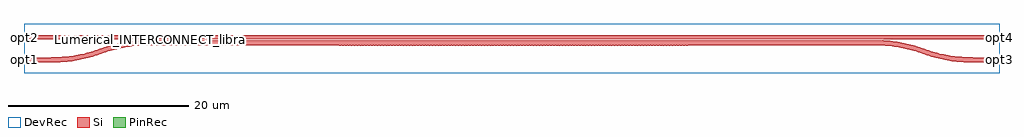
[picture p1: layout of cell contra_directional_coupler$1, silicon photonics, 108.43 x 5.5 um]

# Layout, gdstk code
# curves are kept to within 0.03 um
import gdstk
lib = gdstk.Library(unit=1e-6, precision=1e-09)
def R(c, l, rs):  # rectangles x0, y0, x1, y1
    for r in rs: c.add(gdstk.rectangle(r[:2], r[2:], *l))
def A(c, l, x, y, w, h, nx, ny, dx, dy):  # array of equal rectangles
    R(c, l, [(x+i*dx, y+j*dy, x+i*dx+w, y+j*dy+h) for i in range(nx) for j in range(ny)])
def P(c, l, *ps):  # polygons
    for p in ps: c.add(gdstk.Polygon(p, *l))
Si = (1, 0)
PinRec = (1, 10)
DevRec = (68, 0)

contra_directional_coupl = lib.new_cell('contra_directional_coupler$1')
A(contra_directional_coupl, Si, 34.186, -0.643, 0.16, 0.305, 39, 1, 0.321, 0)
A(contra_directional_coupl, Si, 29.692, -0.642, 0.16, 0.304, 14, 1, 0.321, 0)
A(contra_directional_coupl, Si, 46.705, -0.642, 0.16, 0.304, 14, 1, 0.321, 0)
A(contra_directional_coupl, Si, 26.161, -0.641, 0.16, 0.303, 11, 1, 0.321, 0)
A(contra_directional_coupl, Si, 51.199, -0.641, 0.16, 0.303, 11, 1, 0.321, 0)
A(contra_directional_coupl, Si, 23.593, -0.64, 0.16, 0.302, 8, 1, 0.321, 0)
A(contra_directional_coupl, Si, 54.73, -0.64, 0.16, 0.302, 8, 1, 0.321, 0)
A(contra_directional_coupl, Si, 21.025, -0.639, 0.16, 0.301, 8, 1, 0.321, 0)
A(contra_directional_coupl, Si, 57.298, -0.639, 0.16, 0.301, 8, 1, 0.321, 0)
A(contra_directional_coupl, Si, 18.778, -0.638, 0.16, 0.3, 7, 1, 0.321, 0)
A(contra_directional_coupl, Si, 59.866, -0.638, 0.16, 0.3, 7, 1, 0.321, 0)
A(contra_directional_coupl, Si, 16.531, -0.637, 0.16, 0.299, 7, 1, 0.321, 0)
A(contra_directional_coupl, Si, 62.113, -0.637, 0.16, 0.299, 7, 1, 0.321, 0)
A(contra_directional_coupl, Si, 14.284, -0.636, 0.16, 0.298, 7, 1, 0.321, 0)
A(contra_directional_coupl, Si, 64.36, -0.636, 0.16, 0.298, 7, 1, 0.321, 0)
A(contra_directional_coupl, Si, 12.358, -0.635, 0.16, 0.297, 6, 1, 0.321, 0)
A(contra_directional_coupl, Si, 66.607, -0.635, 0.16, 0.297, 6, 1, 0.321, 0)
A(contra_directional_coupl, Si, 10.111, -0.634, 0.16, 0.296, 7, 1, 0.321, 0)
A(contra_directional_coupl, Si, 68.533, -0.634, 0.16, 0.296, 7, 1, 0.321, 0)
A(contra_directional_coupl, Si, 8.185, -0.633, 0.16, 0.295, 6, 1, 0.321, 0)
A(contra_directional_coupl, Si, 70.78, -0.633, 0.16, 0.295, 6, 1, 0.321, 0)
A(contra_directional_coupl, Si, 6.259, -0.632, 0.16, 0.294, 6, 1, 0.321, 0)
A(contra_directional_coupl, Si, 72.706, -0.632, 0.16, 0.294, 6, 1, 0.321, 0)
A(contra_directional_coupl, Si, 4.012, -0.631, 0.16, 0.293, 7, 1, 0.321, 0)
A(contra_directional_coupl, Si, 74.632, -0.631, 0.16, 0.293, 7, 1, 0.321, 0)
A(contra_directional_coupl, Si, 2.086, -0.63, 0.16, 0.292, 6, 1, 0.321, 0)
A(contra_directional_coupl, Si, 76.879, -0.63, 0.16, 0.292, 6, 1, 0.321, 0)
A(contra_directional_coupl, Si, 0.16, -0.629, 0.16, 0.291, 6, 1, 0.321, 0)
A(contra_directional_coupl, Si, 78.805, -0.629, 0.16, 0.291, 5, 1, 0.321, 0)
A(contra_directional_coupl, Si, 0.32, -0.607, 0.161, 0.269, 6, 1, 0.321, 0)
A(contra_directional_coupl, Si, 78.965, -0.607, 0.161, 0.269, 5, 1, 0.321, 0)
A(contra_directional_coupl, Si, 2.246, -0.606, 0.161, 0.268, 6, 1, 0.321, 0)
A(contra_directional_coupl, Si, 77.039, -0.606, 0.161, 0.268, 6, 1, 0.321, 0)
A(contra_directional_coupl, Si, 4.172, -0.605, 0.161, 0.267, 7, 1, 0.321, 0)
A(contra_directional_coupl, Si, 74.792, -0.605, 0.161, 0.267, 7, 1, 0.321, 0)
A(contra_directional_coupl, Si, 6.419, -0.604, 0.161, 0.266, 6, 1, 0.321, 0)
A(contra_directional_coupl, Si, 72.866, -0.604, 0.161, 0.266, 6, 1, 0.321, 0)
A(contra_directional_coupl, Si, 8.345, -0.603, 0.161, 0.265, 6, 1, 0.321, 0)
A(contra_directional_coupl, Si, 70.94, -0.603, 0.161, 0.265, 6, 1, 0.321, 0)
A(contra_directional_coupl, Si, 10.271, -0.602, 0.161, 0.264, 7, 1, 0.321, 0)
A(contra_directional_coupl, Si, 68.693, -0.602, 0.161, 0.264, 7, 1, 0.321, 0)
A(contra_directional_coupl, Si, 12.518, -0.601, 0.161, 0.263, 6, 1, 0.321, 0)
A(contra_directional_coupl, Si, 66.767, -0.601, 0.161, 0.263, 6, 1, 0.321, 0)
A(contra_directional_coupl, Si, 14.444, -0.6, 0.161, 0.262, 7, 1, 0.321, 0)
A(contra_directional_coupl, Si, 64.52, -0.6, 0.161, 0.262, 7, 1, 0.321, 0)
A(contra_directional_coupl, Si, 16.691, -0.599, 0.161, 0.261, 7, 1, 0.321, 0)
A(contra_directional_coupl, Si, 62.273, -0.599, 0.161, 0.261, 7, 1, 0.321, 0)
A(contra_directional_coupl, Si, 18.938, -0.598, 0.161, 0.26, 7, 1, 0.321, 0)
A(contra_directional_coupl, Si, 60.026, -0.598, 0.161, 0.26, 7, 1, 0.321, 0)
A(contra_directional_coupl, Si, 21.185, -0.597, 0.161, 0.259, 8, 1, 0.321, 0)
A(contra_directional_coupl, Si, 57.458, -0.597, 0.161, 0.259, 8, 1, 0.321, 0)
A(contra_directional_coupl, Si, 23.753, -0.596, 0.161, 0.258, 8, 1, 0.321, 0)
A(contra_directional_coupl, Si, 54.89, -0.596, 0.161, 0.258, 8, 1, 0.321, 0)
A(contra_directional_coupl, Si, 26.321, -0.595, 0.161, 0.257, 11, 1, 0.321, 0)
A(contra_directional_coupl, Si, 51.359, -0.595, 0.161, 0.257, 11, 1, 0.321, 0)
A(contra_directional_coupl, Si, 29.852, -0.594, 0.161, 0.256, 14, 1, 0.321, 0)
A(contra_directional_coupl, Si, 46.865, -0.594, 0.161, 0.256, 14, 1, 0.321, 0)
A(contra_directional_coupl, Si, 34.346, -0.593, 0.161, 0.255, 39, 1, 0.321, 0)
A(contra_directional_coupl, Si, 0, -0.338, 0.16, 0.291, 6, 1, 0.321, 0)
A(contra_directional_coupl, Si, 0.16, -0.338, 0.161, 0.269, 6, 1, 0.321, 0)
A(contra_directional_coupl, Si, 1.926, -0.338, 0.16, 0.292, 6, 1, 0.321, 0)
A(contra_directional_coupl, Si, 2.086, -0.338, 0.161, 0.268, 6, 1, 0.321, 0)
A(contra_directional_coupl, Si, 3.852, -0.338, 0.16, 0.293, 7, 1, 0.321, 0)
A(contra_directional_coupl, Si, 4.012, -0.338, 0.161, 0.267, 7, 1, 0.321, 0)
A(contra_directional_coupl, Si, 6.099, -0.338, 0.16, 0.294, 6, 1, 0.321, 0)
A(contra_directional_coupl, Si, 6.259, -0.338, 0.161, 0.266, 6, 1, 0.321, 0)
A(contra_directional_coupl, Si, 8.025, -0.338, 0.16, 0.295, 6, 1, 0.321, 0)
A(contra_directional_coupl, Si, 8.185, -0.338, 0.161, 0.265, 6, 1, 0.321, 0)
A(contra_directional_coupl, Si, 9.951, -0.338, 0.16, 0.296, 7, 1, 0.321, 0)
A(contra_directional_coupl, Si, 10.111, -0.338, 0.161, 0.264, 7, 1, 0.321, 0)
A(contra_directional_coupl, Si, 12.198, -0.338, 0.16, 0.297, 6, 1, 0.321, 0)
A(contra_directional_coupl, Si, 12.358, -0.338, 0.161, 0.263, 6, 1, 0.321, 0)
A(contra_directional_coupl, Si, 14.124, -0.338, 0.16, 0.298, 7, 1, 0.321, 0)
A(contra_directional_coupl, Si, 14.284, -0.338, 0.161, 0.262, 7, 1, 0.321, 0)
A(contra_directional_coupl, Si, 16.371, -0.338, 0.16, 0.299, 7, 1, 0.321, 0)
A(contra_directional_coupl, Si, 16.531, -0.338, 0.161, 0.261, 7, 1, 0.321, 0)
A(contra_directional_coupl, Si, 18.618, -0.338, 0.16, 0.3, 7, 1, 0.321, 0)
A(contra_directional_coupl, Si, 18.778, -0.338, 0.161, 0.26, 7, 1, 0.321, 0)
A(contra_directional_coupl, Si, 20.865, -0.338, 0.16, 0.301, 8, 1, 0.321, 0)
A(contra_directional_coupl, Si, 21.025, -0.338, 0.161, 0.259, 8, 1, 0.321, 0)
A(contra_directional_coupl, Si, 23.433, -0.338, 0.16, 0.302, 8, 1, 0.321, 0)
A(contra_directional_coupl, Si, 23.593, -0.338, 0.161, 0.258, 8, 1, 0.321, 0)
A(contra_directional_coupl, Si, 26.001, -0.338, 0.16, 0.303, 11, 1, 0.321, 0)
A(contra_directional_coupl, Si, 26.161, -0.338, 0.161, 0.257, 11, 1, 0.321, 0)
A(contra_directional_coupl, Si, 29.532, -0.338, 0.16, 0.304, 14, 1, 0.321, 0)
A(contra_directional_coupl, Si, 29.692, -0.338, 0.161, 0.256, 14, 1, 0.321, 0)
A(contra_directional_coupl, Si, 34.026, -0.338, 0.16, 0.305, 39, 1, 0.321, 0)
A(contra_directional_coupl, Si, 34.186, -0.338, 0.161, 0.255, 39, 1, 0.321, 0)
A(contra_directional_coupl, Si, 46.545, -0.338, 0.16, 0.304, 14, 1, 0.321, 0)
A(contra_directional_coupl, Si, 46.705, -0.338, 0.161, 0.256, 14, 1, 0.321, 0)
A(contra_directional_coupl, Si, 51.039, -0.338, 0.16, 0.303, 11, 1, 0.321, 0)
A(contra_directional_coupl, Si, 51.199, -0.338, 0.161, 0.257, 11, 1, 0.321, 0)
A(contra_directional_coupl, Si, 54.57, -0.338, 0.16, 0.302, 8, 1, 0.321, 0)
A(contra_directional_coupl, Si, 54.73, -0.338, 0.161, 0.258, 8, 1, 0.321, 0)
A(contra_directional_coupl, Si, 57.138, -0.338, 0.16, 0.301, 8, 1, 0.321, 0)
A(contra_directional_coupl, Si, 57.298, -0.338, 0.161, 0.259, 8, 1, 0.321, 0)
A(contra_directional_coupl, Si, 59.706, -0.338, 0.16, 0.3, 7, 1, 0.321, 0)
A(contra_directional_coupl, Si, 59.866, -0.338, 0.161, 0.26, 7, 1, 0.321, 0)
A(contra_directional_coupl, Si, 61.953, -0.338, 0.16, 0.299, 7, 1, 0.321, 0)
A(contra_directional_coupl, Si, 62.113, -0.338, 0.161, 0.261, 7, 1, 0.321, 0)
A(contra_directional_coupl, Si, 64.2, -0.338, 0.16, 0.298, 7, 1, 0.321, 0)
A(contra_directional_coupl, Si, 64.36, -0.338, 0.161, 0.262, 7, 1, 0.321, 0)
A(contra_directional_coupl, Si, 66.447, -0.338, 0.16, 0.297, 6, 1, 0.321, 0)
A(contra_directional_coupl, Si, 66.607, -0.338, 0.161, 0.263, 6, 1, 0.321, 0)
A(contra_directional_coupl, Si, 68.373, -0.338, 0.16, 0.296, 7, 1, 0.321, 0)
A(contra_directional_coupl, Si, 68.533, -0.338, 0.161, 0.264, 7, 1, 0.321, 0)
A(contra_directional_coupl, Si, 70.62, -0.338, 0.16, 0.295, 6, 1, 0.321, 0)
A(contra_directional_coupl, Si, 70.78, -0.338, 0.161, 0.265, 6, 1, 0.321, 0)
A(contra_directional_coupl, Si, 72.546, -0.338, 0.16, 0.294, 6, 1, 0.321, 0)
A(contra_directional_coupl, Si, 72.706, -0.338, 0.161, 0.266, 6, 1, 0.321, 0)
A(contra_directional_coupl, Si, 74.472, -0.338, 0.16, 0.293, 7, 1, 0.321, 0)
A(contra_directional_coupl, Si, 74.632, -0.338, 0.161, 0.267, 7, 1, 0.321, 0)
A(contra_directional_coupl, Si, 76.719, -0.338, 0.16, 0.292, 6, 1, 0.321, 0)
A(contra_directional_coupl, Si, 76.879, -0.338, 0.161, 0.268, 6, 1, 0.321, 0)
A(contra_directional_coupl, Si, 78.645, -0.338, 0.16, 0.291, 5, 1, 0.321, 0)
A(contra_directional_coupl, Si, 78.805, -0.338, 0.161, 0.269, 5, 1, 0.321, 0)
A(contra_directional_coupl, Si, 27.285, 0.047, 0.16, 0.231, 40, 1, 0.321, 0)
A(contra_directional_coupl, Si, 40.446, 0.047, 0.16, 0.231, 40, 1, 0.321, 0)
A(contra_directional_coupl, Si, 21.507, 0.048, 0.16, 0.23, 18, 1, 0.321, 0)
A(contra_directional_coupl, Si, 53.286, 0.048, 0.16, 0.23, 18, 1, 0.321, 0)
A(contra_directional_coupl, Si, 17.013, 0.049, 0.16, 0.229, 14, 1, 0.321, 0)
A(contra_directional_coupl, Si, 59.064, 0.049, 0.16, 0.229, 14, 1, 0.321, 0)
A(contra_directional_coupl, Si, 12.519, 0.05, 0.16, 0.228, 14, 1, 0.321, 0)
A(contra_directional_coupl, Si, 63.558, 0.05, 0.16, 0.228, 14, 1, 0.321, 0)
A(contra_directional_coupl, Si, 8.346, 0.051, 0.16, 0.227, 13, 1, 0.321, 0)
A(contra_directional_coupl, Si, 68.052, 0.051, 0.16, 0.227, 13, 1, 0.321, 0)
A(contra_directional_coupl, Si, 3.852, 0.052, 0.16, 0.226, 14, 1, 0.321, 0)
A(contra_directional_coupl, Si, 72.225, 0.052, 0.16, 0.226, 14, 1, 0.321, 0)
A(contra_directional_coupl, Si, 0, 0.053, 0.16, 0.225, 12, 1, 0.321, 0)
A(contra_directional_coupl, Si, 76.719, 0.053, 0.16, 0.225, 11, 1, 0.321, 0)
A(contra_directional_coupl, Si, 0.16, 0.064, 0.161, 0.214, 12, 1, 0.321, 0)
A(contra_directional_coupl, Si, 76.879, 0.064, 0.161, 0.214, 11, 1, 0.321, 0)
A(contra_directional_coupl, Si, 4.012, 0.065, 0.161, 0.213, 14, 1, 0.321, 0)
A(contra_directional_coupl, Si, 72.385, 0.065, 0.161, 0.213, 14, 1, 0.321, 0)
A(contra_directional_coupl, Si, 8.506, 0.066, 0.161, 0.212, 13, 1, 0.321, 0)
A(contra_directional_coupl, Si, 68.212, 0.066, 0.161, 0.212, 13, 1, 0.321, 0)
A(contra_directional_coupl, Si, 12.679, 0.067, 0.161, 0.211, 14, 1, 0.321, 0)
A(contra_directional_coupl, Si, 63.718, 0.067, 0.161, 0.211, 14, 1, 0.321, 0)
A(contra_directional_coupl, Si, 17.173, 0.068, 0.161, 0.21, 14, 1, 0.321, 0)
A(contra_directional_coupl, Si, 59.224, 0.068, 0.161, 0.21, 14, 1, 0.321, 0)
A(contra_directional_coupl, Si, 21.667, 0.069, 0.161, 0.209, 18, 1, 0.321, 0)
A(contra_directional_coupl, Si, 53.446, 0.069, 0.161, 0.209, 18, 1, 0.321, 0)
A(contra_directional_coupl, Si, 27.445, 0.07, 0.161, 0.208, 81, 1, 0.321, 0)
A(contra_directional_coupl, Si, 0.16, 0.278, 0.16, 0.225, 12, 1, 0.321, 0)
A(contra_directional_coupl, Si, 0.32, 0.278, 0.161, 0.214, 12, 1, 0.321, 0)
A(contra_directional_coupl, Si, 4.012, 0.278, 0.16, 0.226, 14, 1, 0.321, 0)
A(contra_directional_coupl, Si, 4.172, 0.278, 0.161, 0.213, 14, 1, 0.321, 0)
A(contra_directional_coupl, Si, 8.506, 0.278, 0.16, 0.227, 13, 1, 0.321, 0)
A(contra_directional_coupl, Si, 8.666, 0.278, 0.161, 0.212, 13, 1, 0.321, 0)
A(contra_directional_coupl, Si, 12.679, 0.278, 0.16, 0.228, 14, 1, 0.321, 0)
A(contra_directional_coupl, Si, 12.839, 0.278, 0.161, 0.211, 14, 1, 0.321, 0)
A(contra_directional_coupl, Si, 17.173, 0.278, 0.16, 0.229, 14, 1, 0.321, 0)
A(contra_directional_coupl, Si, 17.333, 0.278, 0.161, 0.21, 14, 1, 0.321, 0)
A(contra_directional_coupl, Si, 21.667, 0.278, 0.16, 0.23, 18, 1, 0.321, 0)
A(contra_directional_coupl, Si, 21.827, 0.278, 0.161, 0.209, 18, 1, 0.321, 0)
A(contra_directional_coupl, Si, 27.445, 0.278, 0.16, 0.231, 40, 1, 0.321, 0)
A(contra_directional_coupl, Si, 27.605, 0.278, 0.161, 0.208, 81, 1, 0.321, 0)
A(contra_directional_coupl, Si, 40.606, 0.278, 0.16, 0.231, 40, 1, 0.321, 0)
A(contra_directional_coupl, Si, 53.446, 0.278, 0.16, 0.23, 18, 1, 0.321, 0)
A(contra_directional_coupl, Si, 53.606, 0.278, 0.161, 0.209, 18, 1, 0.321, 0)
A(contra_directional_coupl, Si, 59.224, 0.278, 0.16, 0.229, 14, 1, 0.321, 0)
A(contra_directional_coupl, Si, 59.384, 0.278, 0.161, 0.21, 14, 1, 0.321, 0)
A(contra_directional_coupl, Si, 63.718, 0.278, 0.16, 0.228, 14, 1, 0.321, 0)
A(contra_directional_coupl, Si, 63.878, 0.278, 0.161, 0.211, 14, 1, 0.321, 0)
A(contra_directional_coupl, Si, 68.212, 0.278, 0.16, 0.227, 13, 1, 0.321, 0)
A(contra_directional_coupl, Si, 68.372, 0.278, 0.161, 0.212, 13, 1, 0.321, 0)
A(contra_directional_coupl, Si, 72.385, 0.278, 0.16, 0.226, 14, 1, 0.321, 0)
A(contra_directional_coupl, Si, 72.545, 0.278, 0.161, 0.213, 14, 1, 0.321, 0)
A(contra_directional_coupl, Si, 76.879, 0.278, 0.16, 0.225, 11, 1, 0.321, 0)
A(contra_directional_coupl, Si, 77.039, 0.278, 0.161, 0.214, 11, 1, 0.321, 0)
R(contra_directional_coupl, Si, [(0,-0.618,0.16,-0.338), (80.25,-0.338,80.41,-0.058), (40.125,0.046,40.285,0.278), (-5.5,0.058,0,0.498), (80.25,0.058,80.41,0.278), (80.41,0.058,85.91,0.498), (0,0.278,0.16,0.498), (40.285,0.278,40.445,0.51)])
P(contra_directional_coupl, Si, [(91.142,-2.502),(89.589,-2.423),(88.053,-2.186),(86.796,-1.871),(84.625,-1.157),(83.163,-0.829),(81.925,-0.671),(80.41,-0.618),(80.41,-0.058),(81.714,-0.093),(83.258,-0.277),(84.775,-0.618),(86.955,-1.334),(88.166,-1.638),(89.646,-1.866),(91.41,-1.942),(91.41,-2.502)],
  [(91.41,-2.502),(91.41,-1.942),(94.41,-1.972),(94.41,-2.472)],
  [(94.41,0.028),(85.91,0.058),(85.91,0.498),(94.41,0.528)],
  [(-11,-2.502),(-11,-1.942),(-9.236,-1.866),(-7.756,-1.638),(-6.545,-1.334),(-4.365,-0.618),(-2.848,-0.277),(-1.304,-0.093),(0,-0.058),(0,-0.618),(-1.764,-0.694),(-3.244,-0.922),(-4.455,-1.226),(-6.635,-1.942),(-8.152,-2.283),(-9.696,-2.467)],
  [(-11,-2.502),(-14,-2.472),(-14,-1.972),(-11,-1.942)],
  [(-14,0.028),(-14,0.528),(-5.5,0.498),(-5.5,0.058)])
R(contra_directional_coupl, DevRec, [(-14,-3.722,94.41,1.778)])
contra_directional_coupl.add(gdstk.FlexPath([(-13.99,-2.222),(-14.01,-2.222)], 0.5, ends="flush", simple_path=True, layer=1, datatype=10))  # PinRec
contra_directional_coupl.add(gdstk.FlexPath([(-13.99,0.278),(-14.01,0.278)], 0.5, ends="flush", simple_path=True, layer=1, datatype=10))  # PinRec
contra_directional_coupl.add(gdstk.FlexPath([(94.4,-2.222),(94.42,-2.222)], 0.5, ends="flush", simple_path=True, layer=1, datatype=10))  # PinRec
contra_directional_coupl.add(gdstk.FlexPath([(94.4,0.278),(94.42,0.278)], 0.5, ends="flush", simple_path=True, layer=1, datatype=10))  # PinRec
contra_directional_coupl.add(gdstk.Label('opt1', (-14,-2.222), layer=1, texttype=10))
contra_directional_coupl.add(gdstk.Label('opt2', (-14,0.278), layer=1, texttype=10))
contra_directional_coupl.add(gdstk.Label('opt3', (94.41,-2.222), layer=1, texttype=10))
contra_directional_coupl.add(gdstk.Label('opt4', (94.41,0.278), layer=1, texttype=10))
contra_directional_coupl.add(gdstk.Label('Lumerical_INTERCONNECT_library=Design kits/EBeam', (0,0), layer=68, texttype=0))
contra_directional_coupl.add(gdstk.Label('Component=contra_directional_coupler', (0,0.1), layer=68, texttype=0))

lib.write_gds('contra_directional_coupler_1.gds')
